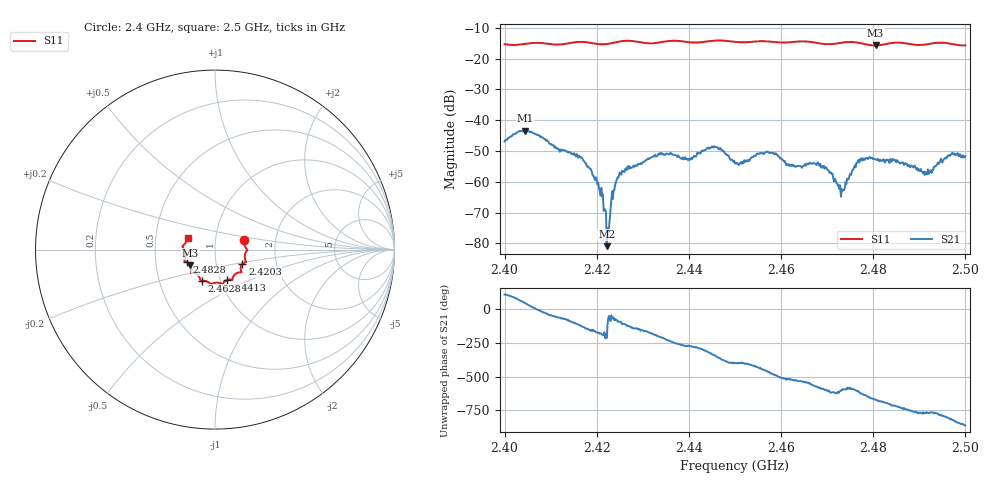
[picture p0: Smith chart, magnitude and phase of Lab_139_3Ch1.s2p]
# Hz S RI R 50
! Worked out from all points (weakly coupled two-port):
!   601 points, 2.4 GHz to 2.5 GHz, reference 50 ohm
!   highest |S21| = -43.39 dB at 2.4045 GHz (marker M1); lowest = -80.9 dB at 2.4222 GHz (marker M2)
!   lowest |S11| = -15.7 dB at 2.4805 GHz (marker M3), VSWR 1.39, Z = 37.3 - j6.69 ohm
!   |S11| at or under -10 dB: start of sweep to end of sweep
!   S12 and S22 are empty: the file has one direction only
!   S11 on the Smith chart (normalised r, x): 2.4 GHz: 1.38, +0.15; 2.4203 GHz: 1.34, -0.22; 2.4413 GHz: 1.08, -0.38; 2.4628 GHz: 0.82, -0.29; 2.4828 GHz: 0.72, -0.10; 2.5 GHz: 0.73, +0.10
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2.4e9  0.1629 0.0526  -0.00141 0.00429  0 0  0 0
2.4045e9  0.1736 0.00645  0.00495 0.00462  0 0  0 0
2.416667e9  0.1734 -0.0697  -0.00149 -0.00192  0 0  0 0
2.420333e9  0.1531 -0.08  -0.000967 -6.68e-05  0 0  0 0
2.422167e9  0.1437 -0.0963  -7.4e-05 5.08e-05  0 0  0 0
2.422667e9  0.143 -0.1013  0.000122 -0.000146  0 0  0 0
2.425e9  0.1462 -0.1216  -0.000101 -0.00142  0 0  0 0
2.433333e9  0.1005 -0.1515  -0.00265 0.00098  0 0  0 0
2.441333e9  0.0676 -0.1696  0.000521 0.0025  0 0  0 0
2.445667e9  0.0424 -0.192  0.00351 0.000949  0 0  0 0
2.45e9  0.0247 -0.1857  0.00149 -0.0013  0 0  0 0
2.457167e9  -0.0261 -0.1887  -0.000848 -0.00294  0 0  0 0
2.462833e9  -0.0711 -0.1736  -0.00173 -0.00042  0 0  0 0
2.466667e9  -0.0815 -0.1673  -0.00182 0.000733  0 0  0 0
2.473167e9  -0.1275 -0.1303  -0.000418 0.000629  0 0  0 0
2.477e9  -0.1314 -0.123  -0.000381 0.00203  0 0  0 0
2.4805e9  -0.1384 -0.0872  0.00152 0.00175  0 0  0 0
2.482833e9  -0.1585 -0.07  0.002 0.000908  0 0  0 0
2.483333e9  -0.1624 -0.0683  0.0021 0.000686  0 0  0 0
2.491667e9  -0.1713 -0.00205  0.000859 -0.001  0 0  0 0
2.496833e9  -0.1723 0.0278  -0.000162 -0.00272  0 0  0 0
2.5e9  -0.152 0.0638  -0.00206 -0.00157  0 0  0 0
